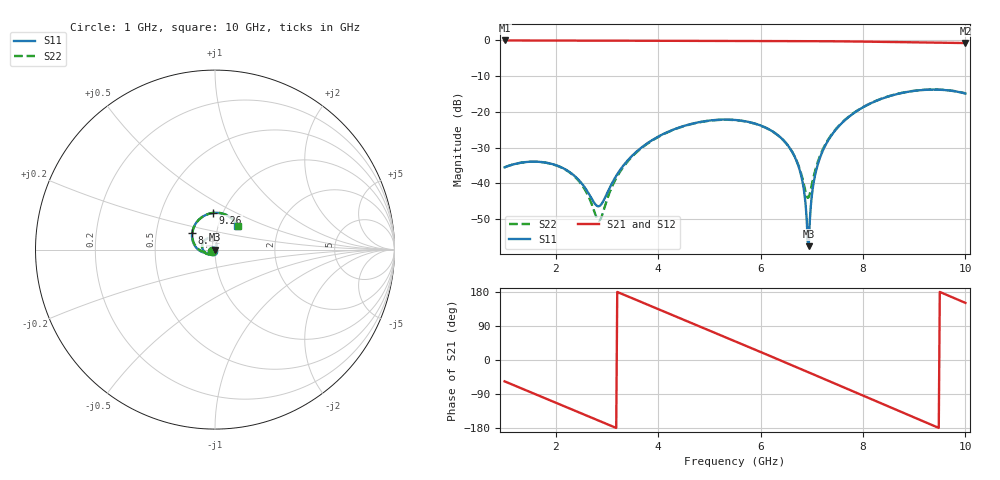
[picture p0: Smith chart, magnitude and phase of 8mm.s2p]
! Touchstone file exported from HFSS 2018.2.0
!  File:  C:/Users/10024/OneDrive - The University of Nottingham Ningbo China/Year 4/Final Year Project/HFSS project/Passive_Resonator_Antenna.aedt
!  Generated:  11:26:31 上午  3月 12, 2022
!  Design:  SMA_Thru
!  Project:  Passive_Resonator_Antenna
!  Setup:  Setup1
!  Solution:  Sweep
! Variables:
!  MW = 1.992mm
!  ThruL = 8mm
!  g = 0.2mm
!  subH = 0.8mm
!  subX = 20mm
!  subY = 18mm
!  tapW = 1.992mm
# GHZ S MA R 50.000000
! Modal data exported
! Port[1] = SMA_CONNECTOR1_1:1
! Port[2] = SMA_CONNECTOR2_1:1
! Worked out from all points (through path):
!   451 points, 1 GHz to 10 GHz, reference 50 ohm
!   highest |S21| = -0.01 dB at 1 GHz (marker M1); lowest = -0.7 dB at 10 GHz (marker M2)
!   group delay of S21, straight-line fit = 158 ps
!   lowest |S11| = -57.5 dB at 6.94 GHz (marker M3), VSWR 1.00, Z = 49.9 + j0.00737 ohm
!   |S11| at or under -10 dB: start of sweep to end of sweep
!   |S22| runs from -50.4 to -13.7 dB; largest |S21 - S12| = 2.9e-13
!   S11 on the Smith chart (normalised r, x): 1 GHz: 0.97, -0.02; 8.42 GHz: 0.76, +0.15; 9.26 GHz: 0.90, +0.38; 10 GHz: 1.24, +0.33
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1  0.01683 -145.8  0.9987 -56.3  0.9987 -56.3  0.01683 -146.1
! Gamma ! 0.0151858380091337 30.3716836111894 0.0151858380091602 30.3716836111562
! Port Impedance50 0 50 0
1.74  0.01986 176.0  0.9968 -98.1  0.9968 -98.1  0.01983 174.4
2.5  0.01015 149.8  0.9945 -140.9  0.9945 -140.9  0.009753 142.4
2.86  0.004872 -157.6  0.9931 -161.2  0.9931 -161.2  0.00307 -155.3
3.3  0.01707 -118.4  0.9911 173.9  0.9911 173.9  0.01631 -110.5
4  0.04518 -146.8  0.9872 134.4  0.9872 134.4  0.04464 -142.5
4.76  0.07105 173.3  0.9826 91.4  0.9826 91.4  0.07056 176.8
5.5  0.07727 132.8  0.9794 49.5  0.9794 49.5  0.07683 136.5
6.04  0.06304 102.9  0.9785 18.9  0.9785 18.9  0.06268 107.7
6.56  0.03201 74.4  0.9779 -10.9  0.9779 -10.9  0.03197 83.9
6.78  0.01399 64.3  0.9773 -23.5  0.9773 -23.5  0.01472 85.2
6.84  0.008637 63.5  0.977 -27.0  0.977 -27.0  0.01012 94.9
6.9  0.0032 72.5  0.9768 -30.4  0.9768 -30.4  0.006709 122.3
6.94  0.001328 176.8  0.9766 -32.7  0.9766 -32.7  0.006425 153.5
7  0.006704 -142.0  0.9762 -36.2  0.9762 -36.2  0.009576 -173.5
7.14  0.02084 -143.9  0.9753 -44.3  0.9753 -44.3  0.02232 -157.0
7.4  0.04887 -157.3  0.9727 -59.3  0.9727 -59.3  0.04986 -163.0
7.9  0.1051 174.1  0.9646 -88.3  0.9646 -88.3  0.1059 171.5
8.42  0.158 143.6  0.9524 -118.3  0.9524 -118.3  0.1587 142.0
8.5  0.1649 138.8  0.9504 -122.9  0.9504 -122.9  0.1657 137.4
9.26  0.2044 93.2  0.9335 -166.6  0.9335 -166.6  0.2052 92.2
10  0.181 46.3  0.9187 150.7  0.9187 150.7  0.1822 45.4
